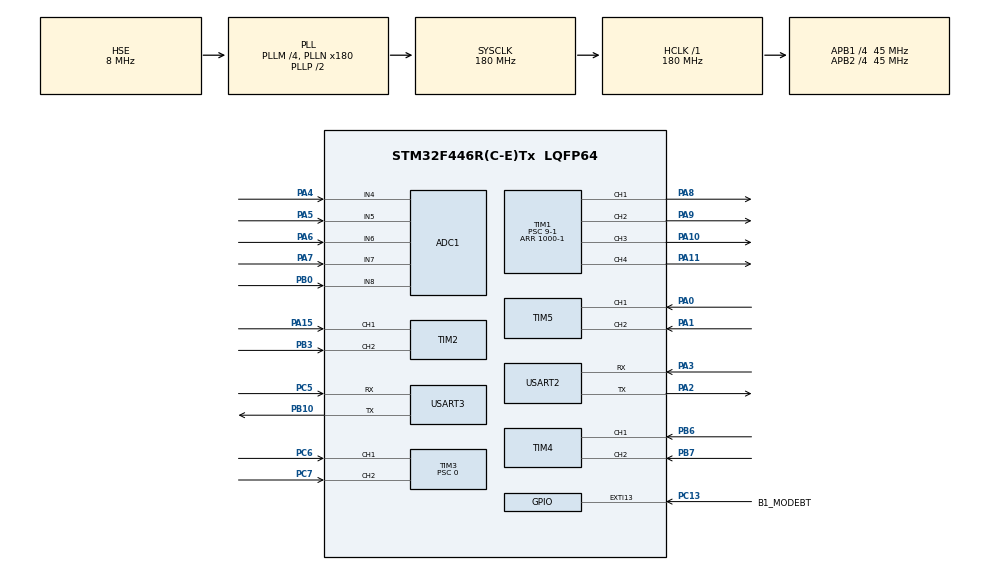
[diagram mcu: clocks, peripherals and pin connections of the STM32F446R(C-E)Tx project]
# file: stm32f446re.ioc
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ADC1.Channel-0\#ChannelRegularConversion=ADC_CHANNEL_4
ADC1.Channel-1\#ChannelRegularConversion=ADC_CHANNEL_5
ADC1.Channel-2\#ChannelRegularConversion=ADC_CHANNEL_6
ADC1.Channel-3\#ChannelRegularConversion=ADC_CHANNEL_7
ADC1.Channel-4\#ChannelRegularConversion=ADC_CHANNEL_8
ADC1.ClockPrescaler=ADC_CLOCK_SYNC_PCLK_DIV8
ADC1.ContinuousConvMode=DISABLE
ADC1.DMAContinuousRequests=ENABLE
ADC1.EOCSelection=ADC_EOC_SEQ_CONV
ADC1.ExternalTrigConv=ADC_EXTERNALTRIGCONV_T8_TRGO
ADC1.NbrOfConversion=5
ADC1.NbrOfConversionFlag=1
ADC1.Rank-0\#ChannelRegularConversion=1
ADC1.Rank-1\#ChannelRegularConversion=2
ADC1.Rank-2\#ChannelRegularConversion=3
ADC1.Rank-3\#ChannelRegularConversion=4
ADC1.Rank-4\#ChannelRegularConversion=5
ADC1.SamplingTime-0\#ChannelRegularConversion=ADC_SAMPLETIME_480CYCLES
ADC1.SamplingTime-1\#ChannelRegularConversion=ADC_SAMPLETIME_480CYCLES
ADC1.SamplingTime-2\#ChannelRegularConversion=ADC_SAMPLETIME_480CYCLES
ADC1.SamplingTime-3\#ChannelRegularConversion=ADC_SAMPLETIME_480CYCLES
ADC1.SamplingTime-4\#ChannelRegularConversion=ADC_SAMPLETIME_480CYCLES
ADC1.ScanConvMode=ENABLE
ADC1.master=1
Dma.ADC1.0.Direction=DMA_PERIPH_TO_MEMORY
Dma.ADC1.0.FIFOMode=DMA_FIFOMODE_DISABLE
Dma.ADC1.0.Instance=DMA2_Stream0
Dma.ADC1.0.MemDataAlignment=DMA_MDATAALIGN_HALFWORD
Dma.ADC1.0.MemInc=DMA_MINC_ENABLE
Dma.ADC1.0.Mode=DMA_CIRCULAR
Dma.ADC1.0.PeriphDataAlignment=DMA_PDATAALIGN_HALFWORD
Dma.ADC1.0.PeriphInc=DMA_PINC_DISABLE
Dma.ADC1.0.Priority=DMA_PRIORITY_VERY_HIGH
Dma.Request0=ADC1
Dma.Request1=USART3_RX
Dma.USART3_RX.1.Direction=DMA_PERIPH_TO_MEMORY
Dma.USART3_RX.1.FIFOMode=DMA_FIFOMODE_DISABLE
Dma.USART3_RX.1.Instance=DMA1_Stream1
Dma.USART3_RX.1.MemDataAlignment=DMA_MDATAALIGN_BYTE
Dma.USART3_RX.1.MemInc=DMA_MINC_ENABLE
Dma.USART3_RX.1.Mode=DMA_CIRCULAR
Dma.USART3_RX.1.PeriphDataAlignment=DMA_PDATAALIGN_BYTE
Dma.USART3_RX.1.PeriphInc=DMA_PINC_DISABLE
Dma.USART3_RX.1.Priority=DMA_PRIORITY_VERY_HIGH
FREERTOS.Tasks01=Instruction,24,128,instruction,Default,NULL,Dynamic,NULL,NULL;Actuator,8,128,actuator,Default,NULL,Dynamic,NULL,NULL;Encoder,8,512,encoder,Default,NULL,Dynamic,NULL,NULL;Mode,8,128,mode,Default,NULL,Dynamic,NULL,NULL;Modebus_parser,8,512,modebus_parser,Default,NULL,Dynamic,NULL,NULL
FREERTOS.configUSE_NEWLIB_REENTRANT=1
Mcu.Family=STM32F4
Mcu.Name=STM32F446R(C-E)Tx
Mcu.Package=LQFP64
NVIC.DMA1_Stream1_IRQn=true\:5\:0\:false\:false\:true\:true\:false\:true\:true
NVIC.DMA2_Stream0_IRQn=true\:5\:0\:false\:true\:true\:2\:true\:false\:true\:true
NVIC.EXTI15_10_IRQn=true\:5\:0\:false\:true\:true\:3\:true\:true\:true\:true
NVIC.PriorityGroup=NVIC_PRIORITYGROUP_4
NVIC.TIM6_DAC_IRQn=true\:5\:0\:false\:true\:true\:1\:true\:true\:true\:true
NVIC.TIM8_TRG_COM_TIM14_IRQn=true\:5\:0\:false\:false\:true\:false\:false\:true\:true
NVIC.TimeBase=TIM8_TRG_COM_TIM14_IRQn
NVIC.TimeBaseIP=TIM14
NVIC.USART3_IRQn=true\:5\:0\:false\:false\:true\:true\:true\:true\:true
PA0-WKUP.Signal=S_TIM5_CH1
PA1.Signal=S_TIM5_CH2
PA10.Signal=S_TIM1_CH3
PA11.Signal=S_TIM1_CH4
PA13.Mode=Serial_Wire
PA13.Signal=SYS_JTMS-SWDIO
PA14.Mode=Serial_Wire
PA14.Signal=SYS_JTCK-SWCLK
PA15.Signal=S_TIM2_CH1_ETR
PA2.Mode=Asynchronous
PA2.Signal=USART2_TX
PA3.Mode=Asynchronous
PA3.Signal=USART2_RX
PA4.Signal=ADCx_IN4
PA5.Signal=ADCx_IN5
PA6.Signal=ADCx_IN6
PA7.Signal=ADCx_IN7
PA8.Signal=S_TIM1_CH1
PA9.Signal=S_TIM1_CH2
PB0.Signal=ADCx_IN8
PB10.Mode=Asynchronous
PB10.Signal=USART3_TX
PB3.Signal=S_TIM2_CH2
PB6.Signal=S_TIM4_CH1
PB7.Signal=S_TIM4_CH2
PC13.GPIO_Label=B1_MODEBT
PC13.GPIO_ModeDefaultEXTI=GPIO_MODE_IT_FALLING
PC13.Signal=GPXTI13
PC5.Mode=Asynchronous
PC5.Signal=USART3_RX
PC6.Signal=S_TIM3_CH1
PC7.Signal=S_TIM3_CH2
PH0-OSC_IN.Mode=HSE-External-Clock-Source
PH0-OSC_IN.Signal=RCC_OSC_IN
PH1-OSC_OUT.Mode=HSE-External-Clock-Source
PH1-OSC_OUT.Signal=RCC_OSC_OUT
ProjectManager.HeapSize=0x200
ProjectManager.StackSize=0x400
ProjectManager.TargetToolchain=STM32CubeIDE
RCC.AHBFreq_Value=180000000
RCC.APB1CLKDivider=RCC_HCLK_DIV4
RCC.APB1Freq_Value=45000000
RCC.APB1TimFreq_Value=90000000
RCC.APB2CLKDivider=RCC_HCLK_DIV4
RCC.APB2Freq_Value=45000000
RCC.APB2TimFreq_Value=90000000
RCC.CortexFreq_Value=180000000
RCC.HCLKFreq_Value=180000000
RCC.HSE_VALUE=8000000
RCC.PLLM=4
RCC.PLLN=180
RCC.PLLSourceVirtual=RCC_PLLSOURCE_HSE
RCC.SYSCLKFreq_VALUE=180000000
RCC.SYSCLKSource=RCC_SYSCLKSOURCE_PLLCLK
RCC.USBFreq_Value=180000000
RCC.VCOOutputFreq_Value=360000000
SH.ADCx_IN4.0=ADC1_IN4,IN4
SH.ADCx_IN5.0=ADC1_IN5,IN5
SH.ADCx_IN6.0=ADC1_IN6,IN6
SH.ADCx_IN7.0=ADC1_IN7,IN7
SH.ADCx_IN8.0=ADC1_IN8,IN8
SH.S_TIM1_CH1.0=TIM1_CH1,PWM Generation1 CH1
SH.S_TIM1_CH2.0=TIM1_CH2,PWM Generation2 CH2
SH.S_TIM1_CH3.0=TIM1_CH3,PWM Generation3 CH3
SH.S_TIM1_CH4.0=TIM1_CH4,PWM Generation4 CH4
SH.S_TIM2_CH1_ETR.0=TIM2_CH1,Encoder_Interface
SH.S_TIM2_CH2.0=TIM2_CH2,Encoder_Interface
SH.S_TIM3_CH1.0=TIM3_CH1,Encoder_Interface
SH.S_TIM3_CH2.0=TIM3_CH2,Encoder_Interface
SH.S_TIM4_CH1.0=TIM4_CH1,Encoder_Interface
SH.S_TIM4_CH2.0=TIM4_CH2,Encoder_Interface
SH.S_TIM5_CH1.0=TIM5_CH1,Encoder_Interface
SH.S_TIM5_CH2.0=TIM5_CH2,Encoder_Interface
TIM1.Channel-PWM\ Generation1\ CH1=TIM_CHANNEL_1
TIM1.Channel-PWM\ Generation2\ CH2=TIM_CHANNEL_2
TIM1.Channel-PWM\ Generation3\ CH3=TIM_CHANNEL_3
TIM1.Channel-PWM\ Generation4\ CH4=TIM_CHANNEL_4
TIM1.Period=1000-1
TIM1.Prescaler=9-1
TIM2.EncoderMode=TIM_ENCODERMODE_TI12
TIM3.EncoderMode=TIM_ENCODERMODE_TI12
TIM3.Period=65535
TIM3.Prescaler=0
TIM3.TIM_MasterOutputTrigger=TIM_TRGO_UPDATE
TIM3.TIM_MasterSlaveMode=TIM_MASTERSLAVEMODE_DISABLE
TIM4.EncoderMode=TIM_ENCODERMODE_TI12
TIM5.EncoderMode=TIM_ENCODERMODE_TI12
TIM6.Period=10000-1
TIM6.Prescaler=9000-1
TIM8.Period=100-1
TIM8.Prescaler=9000-1
TIM8.TIM_MasterOutputTrigger=TIM_TRGO_UPDATE
USART2.VirtualMode=VM_ASYNC
USART3.VirtualMode=VM_ASYNC
VP_FREERTOS_VS_CMSIS_V2.Mode=CMSIS_V2
VP_SYS_VS_tim14.Mode=TIM14
VP_TIM1_VS_ClockSourceINT.Mode=Internal
VP_TIM6_VS_ClockSourceINT.Mode=Enable_Timer
VP_TIM8_VS_ClockSourceINT.Mode=Internal
board=custom

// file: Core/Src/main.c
/* USER CODE BEGIN Header */
/**
  ******************************************************************************
  * @file           : main.c
  * @brief          : Main program body
  ******************************************************************************
  * @attention
  *
  * Copyright (c) 2026 STMicroelectronics.
  * All rights reserved.
  *
  * This software is licensed under terms that can be found in the LICENSE file
  * in the root directory of this software component.
  * If no LICENSE file comes with this software, it is provided AS-IS.
  *
  ******************************************************************************
  */
/* USER CODE END Header */
#include "main.h"
#include "cmsis_os.h"
#include "adc.h"
#include "dma.h"
#include "tim.h"
#include "usart.h"
#include "gpio.h"

/* USER CODE BEGIN Includes */
#include <c_stdlib.h>
#include <os_common.h>

#include <My_ARM_RTOS_Value_Lib_V1_4.h>
#include <My_ARM_RTOS_ADC_Lib_V3_2.h>

#include <msg.h>
#include <motor_instruction.h>
#include <actuator.h>
#include <robot_mode.h>

/* USER CODE END Includes */

/* USER CODE BEGIN PV */
volatile uint8_t sec_flag;

/* USER CODE END PV */

void SystemClock_Config(void);
void MX_FREERTOS_Init(void);
static void MX_NVIC_Init(void);

int main(void)
{

  /* MCU Configuration--------------------------------------------------------*/

  /* Reset of all peripherals, Initializes the Flash interface and the Systick. */
  HAL_Init();

  /* Configure the system clock */
  SystemClock_Config();

  /* Initialize all configured peripherals */
  MX_GPIO_Init();
  MX_DMA_Init();
  MX_USART2_UART_Init();
  MX_TIM1_Init();
  MX_ADC1_Init();
  MX_TIM2_Init();
  MX_TIM5_Init();
  MX_TIM3_Init();
  MX_TIM4_Init();
  MX_TIM6_Init();
  MX_TIM8_Init();
  MX_USART3_UART_Init();

  /* Initialize interrupts */
  MX_NVIC_Init();
  /* USER CODE BEGIN 2 */
  line_sensor_init();
  actuator_init();
  rtos_init();
  Uart_Init(&huart3);

  //ENCODER
//  HAL_TIM_Encoder_Start(&htim5, TIM_CHANNEL_ALL);
//  uint32_t cnt = 0;
//  float rpm;

 HAL_TIM_Base_Start_IT(&htim6);
  /* USER CODE END 2 */

  /* Init scheduler */
  osKernelInitialize();  /* Call init function for freertos objects (in cmsis_os2.c) */
  MX_FREERTOS_Init();

  /* Start scheduler */
  osKernelStart();

  /* We should never get here as control is now taken by the scheduler */

  /* Infinite loop */
  /* USER CODE BEGIN WHILE */
  while (1)
  {
//	  cnt = __HAL_TIM_GET_COUNTER(&htim5);
//	  rpm  = ((float)cnt * 10.0f) / 1320.0f;
//	  printf("rpm = %f\r\n",rpm);
//	  __HAL_TIM_SET_COUNTER(&htim5, 0);
//	  HAL_Delay(6000);

    /* USER CODE END WHILE */

  }
}

void SystemClock_Config(void)
{
  RCC_OscInitTypeDef RCC_OscInitStruct = {0};
  RCC_ClkInitTypeDef RCC_ClkInitStruct = {0};

  /** Configure the main internal regulator output voltage
  */
  __HAL_RCC_PWR_CLK_ENABLE();
  __HAL_PWR_VOLTAGESCALING_CONFIG(PWR_REGULATOR_VOLTAGE_SCALE1);

  /** Initializes the RCC Oscillators according to the specified parameters
  * in the RCC_OscInitTypeDef structure.
  */
  RCC_OscInitStruct.OscillatorType = RCC_OSCILLATORTYPE_HSE;
  RCC_OscInitStruct.HSEState = RCC_HSE_BYPASS;
  RCC_OscInitStruct.PLL.PLLState = RCC_PLL_ON;
  RCC_OscInitStruct.PLL.PLLSource = RCC_PLLSOURCE_HSE;
  RCC_OscInitStruct.PLL.PLLM = 4;
  RCC_OscInitStruct.PLL.PLLN = 180;
  RCC_OscInitStruct.PLL.PLLP = RCC_PLLP_DIV2;
  RCC_OscInitStruct.PLL.PLLQ = 2;
  RCC_OscInitStruct.PLL.PLLR = 2;
  if (HAL_RCC_OscConfig(&RCC_OscInitStruct) != HAL_OK)
  {
    Error_Handler();
  }

  /** Activate the Over-Drive mode
  */
  if (HAL_PWREx_EnableOverDrive() != HAL_OK)
  {
    Error_Handler();
  }

  /** Initializes the CPU, AHB and APB buses clocks
  */
  RCC_ClkInitStruct.ClockType = RCC_CLOCKTYPE_HCLK|RCC_CLOCKTYPE_SYSCLK
                              |RCC_CLOCKTYPE_PCLK1|RCC_CLOCKTYPE_PCLK2;
  RCC_ClkInitStruct.SYSCLKSource = RCC_SYSCLKSOURCE_PLLCLK;
  RCC_ClkInitStruct.AHBCLKDivider = RCC_SYSCLK_DIV1;
  RCC_ClkInitStruct.APB1CLKDivider = RCC_HCLK_DIV4;
  RCC_ClkInitStruct.APB2CLKDivider = RCC_HCLK_DIV4;

  if (HAL_RCC_ClockConfig(&RCC_ClkInitStruct, FLASH_LATENCY_5) != HAL_OK)
  {
    Error_Handler();
  }
}

/**
  * @brief NVIC Configuration.
  * @retval None
  */
static void MX_NVIC_Init(void)
{
  /* TIM6_DAC_IRQn interrupt configuration */
  HAL_NVIC_SetPriority(TIM6_DAC_IRQn, 5, 0);
  HAL_NVIC_EnableIRQ(TIM6_DAC_IRQn);
  /* DMA2_Stream0_IRQn interrupt configuration */
  HAL_NVIC_SetPriority(DMA2_Stream0_IRQn, 5, 0);
  HAL_NVIC_EnableIRQ(DMA2_Stream0_IRQn);
  /* EXTI15_10_IRQn interrupt configuration */
  HAL_NVIC_SetPriority(EXTI15_10_IRQn, 5, 0);
  HAL_NVIC_EnableIRQ(EXTI15_10_IRQn);
}

/* USER CODE BEGIN 4 */
void HAL_GPIO_EXTI_Callback(uint16_t GPIO_Pin)
{
    static uint32_t last_tick = 0;

    if (GPIO_Pin == B1_MODEBT_Pin)
    {
        uint32_t now = HAL_GetTick();
        // 디바운싱
        if ((now - last_tick) < 200)return;
        last_tick = now;

        // 토글 명령
        Robot_CmdTypeDef robot_cmd = ROBOT_CMD_TOGGLE;

        BaseType_t xHigherPriorityTaskWoken = pdFALSE;
        xQueueSendFromISR(modeQueueHandle,&robot_cmd,&xHigherPriorityTaskWoken);
        portYIELD_FROM_ISR(xHigherPriorityTaskWoken);
    }
}
/* USER CODE END 4 */

void HAL_TIM_PeriodElapsedCallback(TIM_HandleTypeDef *htim)
{
  if (htim->Instance == TIM14)
  {
    HAL_IncTick();
  }
  /* USER CODE BEGIN Callback 1 */
  if (htim->Instance == TIM6)
  {
	 sec_flag = 1;
  }
  /* USER CODE END Callback 1 */
}

void Error_Handler(void)
{
  __disable_irq();
  while (1)
  {
  }
}

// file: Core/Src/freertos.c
/* USER CODE BEGIN Header */
/**
  ******************************************************************************
  * File Name          : freertos.c
  * Description        : Code for freertos applications
  ******************************************************************************
  * @attention
  *
  * Copyright (c) 2026 STMicroelectronics.
  * All rights reserved.
  *
  * This software is licensed under terms that can be found in the LICENSE file
  * in the root directory of this software component.
  * If no LICENSE file comes with this software, it is provided AS-IS.
  *
  ******************************************************************************
  */
/* USER CODE END Header */

#include "FreeRTOS.h"
#include "task.h"
#include "main.h"
#include "cmsis_os.h"

/* USER CODE BEGIN Includes */
#include "tim.h"
#include "os_common.h"
#include "actuator.h"
/* USER CODE END Includes */

/* Definitions for Instruction */
osThreadId_t InstructionHandle;
const osThreadAttr_t Instruction_attributes = {
  .name = "Instruction",
  .stack_size = 128 * 4,
  .priority = (osPriority_t) osPriorityNormal,
};
/* Definitions for Actuator */
osThreadId_t ActuatorHandle;
const osThreadAttr_t Actuator_attributes = {
  .name = "Actuator",
  .stack_size = 128 * 4,
  .priority = (osPriority_t) osPriorityLow,
};
/* Definitions for Encoder */
osThreadId_t EncoderHandle;
const osThreadAttr_t Encoder_attributes = {
  .name = "Encoder",
  .stack_size = 512 * 4,
  .priority = (osPriority_t) osPriorityLow,
};
/* Definitions for Mode */
osThreadId_t ModeHandle;
const osThreadAttr_t Mode_attributes = {
  .name = "Mode",
  .stack_size = 128 * 4,
  .priority = (osPriority_t) osPriorityLow,
};
/* Definitions for Modebus_parser */
osThreadId_t Modebus_parserHandle;
const osThreadAttr_t Modebus_parser_attributes = {
  .name = "Modebus_parser",
  .stack_size = 512 * 4,
  .priority = (osPriority_t) osPriorityLow,
};

void instruction(void *argument);
void actuator(void *argument);
void encoder(void *argument);
void mode(void *argument);
void modebus_parser(void *argument);

void MX_FREERTOS_Init(void); /* (MISRA C 2004 rule 8.1) */

void MX_FREERTOS_Init(void) {

  /* Create the thread(s) */
  /* creation of Instruction */
  InstructionHandle = osThreadNew(instruction, NULL, &Instruction_attributes);

  /* creation of Actuator */
  ActuatorHandle = osThreadNew(actuator, NULL, &Actuator_attributes);

  /* creation of Encoder */
  EncoderHandle = osThreadNew(encoder, NULL, &Encoder_attributes);

  /* creation of Mode */
  ModeHandle = osThreadNew(mode, NULL, &Mode_attributes);

  /* creation of Modebus_parser */
  Modebus_parserHandle = osThreadNew(modebus_parser, NULL, &Modebus_parser_attributes);

}

void instruction(void *argument)
{
  /* USER CODE BEGIN instruction */
  /* Infinite loop */
  for(;;)
  {
	instruction_task();
  }
  /* USER CODE END instruction */
}

void actuator(void *argument)
{
  /* USER CODE BEGIN actuator */
  /* Infinite loop */

  for(;;)
  {
    actuator_task();
  }
  /* USER CODE END actuator */
}

void encoder(void *argument)
{
  /* USER CODE BEGIN encoder */
  /* Infinite loop */
	extern uint8_t sec_flag;
	encoder_init();

	TickType_t xLastWakeTime;
	xLastWakeTime = xTaskGetTickCount();
  for(;;)
  {
	  update_motor_rpm(right_dcmotor_front);
	  update_motor_rpm(right_dcmotor_rear);
	  update_motor_rpm(left_dcmotor_front);
	  update_motor_rpm(left_dcmotor_rear);

	  if(sec_flag == 1){
		  sec_flag = 0;
	//	  dis_rpm();
	  }
	 vTaskDelayUntil(&xLastWakeTime,50);
  }
  /* USER CODE END encoder */
}

void mode(void *argument)
{
  /* USER CODE BEGIN mode */
  /* Infinite loop */
  for(;;)
  {
    mode_task();
  }
  /* USER CODE END mode */
}

void modebus_parser(void *argument)
{
  /* USER CODE BEGIN modebus_parser */
  /* Infinite loop */
  for(;;)
  {
	 modbus_protocol_task();
  }
  /* USER CODE END modebus_parser */
}
